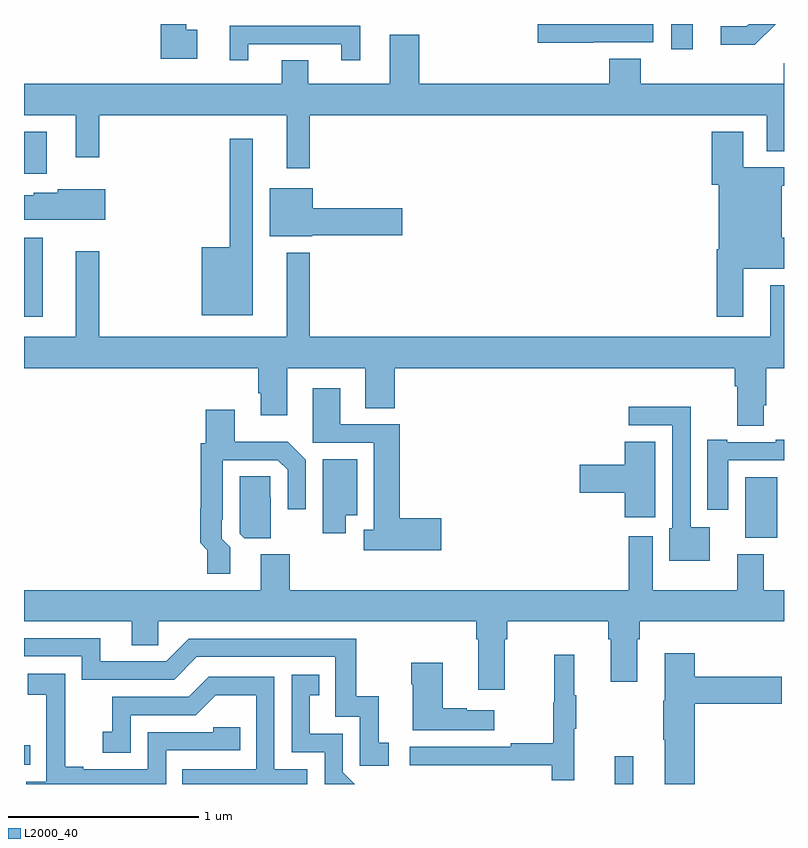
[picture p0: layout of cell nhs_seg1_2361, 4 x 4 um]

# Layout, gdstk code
import gdstk
lib = gdstk.Library(unit=1e-6, precision=1e-09)
def R(c, l, rs):  # rectangles x0, y0, x1, y1
    for r in rs: c.add(gdstk.rectangle(r[:2], r[2:], *l))
def P(c, l, *ps):  # polygons
    for p in ps: c.add(gdstk.Polygon(p, *l))
L2000_40 = (2000, 40)

nhs_seg1_2361 = lib.new_cell('nhs_seg1_2361')
R(nhs_seg1_2361, L2000_40, [(242.109,560.199,242.206,560.344), (239,560.301,239.033,560.402), (242.795,561.494,242.965,561.814), (239,562.659,239.098,563.074), (239,563.412,239.119,563.632), (242.406,564.066,242.521,564.199)])
P(nhs_seg1_2361, L2000_40, [(239.911,564.17),(239.854,564.17),(239.854,564.199),(239.72,564.199),(239.72,564.017),(239.911,564.017)],
  [(241.997,564.102),(242.313,564.102),(242.313,564.199),(242.217,564.199),(242.217,564.198),(241.821,564.198),(241.821,564.199),(241.705,564.199),(241.705,564.101),(241.997,564.101)],
  [(242.956,564.199),(242.814,564.199),(242.801,564.186),(242.667,564.186),(242.667,564.089),(242.845,564.089)],
  [(240.181,564.093),(240.671,564.093),(240.671,564.009),(240.769,564.009),(240.769,564.189),(240.083,564.189),(240.083,564.009),(240.181,564.009)],
  [(240.505,563.72),(242.909,563.72),(242.909,563.53),(243,563.53),(243,563.993),(242.999,563.993),(242.999,563.884),(242.246,563.884),(242.246,564.017),(242.081,564.017),(242.081,563.884),(241.079,563.884),(241.079,564.142),(240.926,564.142),(240.926,563.884),(240.496,563.884),(240.496,564.008),(240.356,564.008),(240.356,563.884),(239,563.884),(239,563.72),(239.273,563.72),(239.273,563.499),(239.395,563.499),(239.395,563.72),(240.383,563.72),(240.383,563.439),(240.505,563.439)],
  [(242.785,562.91),(243,562.91),(243,563.074),(242.989,563.074),(242.989,563.348),(243,563.348),(243,563.445),(242.785,563.445),(242.785,563.632),(242.621,563.632),(242.621,563.352),(242.657,563.352),(242.657,563.014),(242.645,563.014),(242.645,562.659),(242.785,562.659)],
  [(240.205,563.596),(240.084,563.596),(240.084,563.023),(239.936,563.023),(239.936,562.667),(240.205,562.667)],
  [(240.516,563.087),(240.991,563.087),(240.991,563.229),(240.52,563.229),(240.52,563.335),(240.293,563.335),(240.293,563.081),(240.516,563.081)],
  [(239.428,563.329),(239.178,563.329),(239.178,563.311),(239.052,563.311),(239.052,563.297),(239,563.297),(239,563.168),(239.428,563.168)],
  [(242.893,562.192),(242.906,562.192),(242.906,562.388),(243,562.388),(243,562.825),(242.927,562.825),(242.927,562.552),(240.505,562.552),(240.505,562.996),(240.383,562.996),(240.383,562.552),(239.395,562.552),(239.395,563.002),(239.273,563.002),(239.273,562.552),(239,562.552),(239,562.388),(240.233,562.388),(240.233,562.255),(240.245,562.255),(240.245,562.14),(240.385,562.14),(240.385,562.388),(240.797,562.388),(240.797,562.177),(240.95,562.177),(240.95,562.388),(242.741,562.388),(242.741,562.292),(242.753,562.292),(242.753,562.084),(242.893,562.084)],
  [(241.195,561.599),(240.977,561.599),(240.977,562.092),(240.664,562.092),(240.664,562.282),(240.521,562.282),(240.521,561.996),(240.842,561.996),(240.842,561.538),(240.789,561.538),(240.789,561.429),(241.195,561.429)],
  [(242.608,561.55),(242.508,561.55),(242.508,562.184),(242.184,562.184),(242.184,562.086),(242.412,562.086),(242.412,561.546),(242.396,561.546),(242.396,561.374),(242.608,561.374)],
  [(240.085,561.446),(240.042,561.489),(240.042,561.589),(240.045,561.589),(240.045,561.903),(240.336,561.903),(240.387,561.852),(240.387,561.645),(240.483,561.645),(240.483,561.906),(240.389,562),(240.109,562),(240.109,562.168),(239.957,562.168),(239.957,561.993),(239.929,561.993),(239.929,561.65),(239.927,561.65),(239.927,561.468),(239.965,561.429),(239.965,561.306),(240.085,561.306)],
  [(242.707,561.903),(243,561.903),(243,562.012),(242.957,562.012),(242.957,561.999),(242.701,561.999),(242.701,562.012),(242.597,562.012),(242.597,561.642),(242.707,561.642)],
  [(242.323,562.001),(242.162,562.001),(242.162,561.878),(241.926,561.878),(241.926,561.731),(242.162,561.731),(242.162,561.603),(242.323,561.603)],
  [(240.694,561.614),(240.754,561.614),(240.754,561.907),(240.572,561.907),(240.572,561.519),(240.694,561.519)],
  [(240.298,561.707),(240.297,561.707),(240.297,561.818),(240.135,561.818),(240.135,561.516),(240.159,561.493),(240.298,561.493)],
  [(241.531,560.96),(241.544,560.96),(241.544,561.056),(242.075,561.056),(242.075,560.96),(242.087,560.96),(242.087,560.736),(242.227,560.736),(242.227,560.96),(242.24,560.96),(242.24,561.056),(243,561.056),(243,561.22),(242.893,561.22),(242.893,561.409),(242.753,561.409),(242.753,561.22),(242.308,561.22),(242.308,561.502),(242.183,561.502),(242.183,561.22),(240.398,561.22),(240.398,561.408),(240.245,561.408),(240.245,561.22),(239,561.22),(239,561.056),(239.567,561.056),(239.567,560.929),(239.706,560.929),(239.706,561.056),(241.379,561.056),(241.379,560.96),(241.391,560.96),(241.391,560.694),(241.531,560.694)],
  [(240.919,560.415),(240.866,560.415),(240.866,560.662),(240.748,560.662),(240.748,560.964),(239.868,560.964),(239.748,560.844),(239.401,560.844),(239.401,560.967),(239,560.967),(239,560.871),(239.304,560.871),(239.304,560.748),(239.79,560.748),(239.91,560.868),(240.639,560.868),(240.639,560.553),(240.768,560.553),(240.768,560.295),(240.919,560.295)],
  [(242.531,560.621),(242.989,560.621),(242.989,560.763),(242.531,560.763),(242.531,560.887),(242.372,560.887),(242.372,560.637),(242.365,560.637),(242.365,560.431),(242.372,560.431),(242.372,560.199),(242.531,560.199)],
  [(241.895,560.491),(241.906,560.491),(241.906,560.665),(241.895,560.665),(241.895,560.878),(241.792,560.878),(241.792,560.628),(241.785,560.628),(241.785,560.414),(241.561,560.414),(241.561,560.394),(241.029,560.394),(241.029,560.298),(241.777,560.298),(241.777,560.22),(241.895,560.22)],
  [(241.474,560.587),(241.331,560.587),(241.331,560.597),(241.204,560.597),(241.204,560.836),(241.039,560.836),(241.039,560.723),(241.046,560.723),(241.046,560.483),(241.474,560.483)],
  [(239.748,560.376),(240.137,560.376),(240.137,560.499),(239.997,560.499),(239.997,560.472),(239.652,560.472),(239.652,560.277),(239.311,560.277),(239.311,560.29),(239.216,560.29),(239.216,560.573),(239.217,560.573),(239.217,560.779),(239.019,560.779),(239.019,560.669),(239.117,560.669),(239.117,560.441),(239.118,560.441),(239.118,560.211),(239.013,560.211),(239.013,560.199),(239.748,560.199)],
  [(240.678,560.262),(240.678,560.463),(240.505,560.463),(240.505,560.667),(240.554,560.667),(240.554,560.773),(240.408,560.773),(240.408,560.367),(240.582,560.367),(240.582,560.199),(240.741,560.199)],
  [(240.492,560.277),(240.318,560.277),(240.318,560.763),(239.972,560.763),(239.867,560.658),(239.464,560.658),(239.464,560.473),(239.415,560.473),(239.415,560.364),(239.562,560.364),(239.562,560.562),(239.904,560.562),(240.008,560.666),(240.222,560.666),(240.222,560.277),(239.833,560.277),(239.833,560.199),(240.492,560.199)])

lib.write_gds('nhs_seg1_2361.gds')
